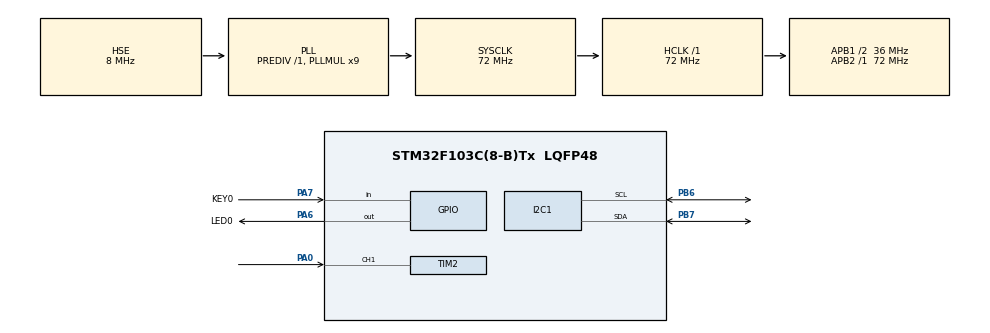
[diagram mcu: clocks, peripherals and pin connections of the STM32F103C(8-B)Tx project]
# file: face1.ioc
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I2C1.I2C_Mode=I2C_Fast
Mcu.Family=STM32F1
Mcu.Name=STM32F103C(8-B)Tx
Mcu.Package=LQFP48
NVIC.PriorityGroup=NVIC_PRIORITYGROUP_2
NVIC.TIM1_UP_IRQn=true\:1\:1\:true\:false\:true\:true\:true
NVIC.TIM2_IRQn=true\:0\:0\:true\:false\:true\:true\:true
NVIC.TIM3_IRQn=true\:1\:0\:true\:false\:true\:true\:true
NVIC.TIM4_IRQn=true\:0\:0\:false\:false\:true\:true\:true
PA0-WKUP.GPIO_PuPd=GPIO_PULLDOWN
PA0-WKUP.Signal=S_TIM2_CH1_ETR
PA13.Mode=JTAG_4_pins
PA13.Signal=SYS_JTMS-SWDIO
PA14.Mode=JTAG_4_pins
PA14.Signal=SYS_JTCK-SWCLK
PA15.Mode=JTAG_4_pins
PA15.Signal=SYS_JTDI
PA6.GPIO_Label=LED0
PA6.Signal=GPIO_Output
PA7.GPIO_Label=KEY0
PA7.Signal=GPIO_Input
PB3.Mode=JTAG_4_pins
PB3.Signal=SYS_JTDO-TRACESWO
PB6.Mode=I2C
PB6.Signal=I2C1_SCL
PB7.Mode=I2C
PB7.Signal=I2C1_SDA
PD0-OSC_IN.Mode=HSE-External-Oscillator
PD0-OSC_IN.Signal=RCC_OSC_IN
PD1-OSC_OUT.Mode=HSE-External-Oscillator
PD1-OSC_OUT.Signal=RCC_OSC_OUT
ProjectManager.HeapSize=0x200
ProjectManager.StackSize=0x400
ProjectManager.TargetToolchain=MDK-ARM V5
RCC.AHBFreq_Value=72000000
RCC.APB1CLKDivider=RCC_HCLK_DIV2
RCC.APB1Freq_Value=36000000
RCC.APB1TimFreq_Value=72000000
RCC.APB2Freq_Value=72000000
RCC.APB2TimFreq_Value=72000000
RCC.HCLKFreq_Value=72000000
RCC.PLLMUL=RCC_PLL_MUL9
RCC.PLLSourceVirtual=RCC_PLLSOURCE_HSE
RCC.SYSCLKFreq_VALUE=72000000
RCC.SYSCLKSource=RCC_SYSCLKSOURCE_PLLCLK
RCC.USBFreq_Value=72000000
SH.S_TIM2_CH1_ETR.0=TIM2_CH1,Input_Capture1_from_TI1
TIM1.AutoReloadPreload=TIM_AUTORELOAD_PRELOAD_ENABLE
TIM1.Period=9999
TIM1.Prescaler=71
TIM2.AutoReloadPreload=TIM_AUTORELOAD_PRELOAD_ENABLE
TIM2.Channel-Input_Capture1_from_TI1=TIM_CHANNEL_1
TIM2.Prescaler=71
TIM3.AutoReloadPreload=TIM_AUTORELOAD_PRELOAD_ENABLE
TIM3.Period=999
TIM3.Prescaler=71
TIM4.AutoReloadPreload=TIM_AUTORELOAD_PRELOAD_ENABLE
TIM4.Period=9999
TIM4.Prescaler=71
VP_TIM1_VS_ClockSourceINT.Mode=Internal
VP_TIM3_VS_ClockSourceINT.Mode=Internal
VP_TIM4_VS_ClockSourceINT.Mode=Internal
board=custom

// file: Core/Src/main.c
/* USER CODE BEGIN Header */
/**
  ******************************************************************************
  * @file           : main.c
  * @brief          : Main program body
  ******************************************************************************
  * @attention
  *
  * <h2><center>&copy; Copyright (c) 2021 STMicroelectronics.
  * All rights reserved.</center></h2>
  *
  * This software component is licensed by ST under BSD 3-Clause license,
  * the "License"; You may not use this file except in compliance with the
  * License. You may obtain a copy of the License at:
  *                        opensource.org/licenses/BSD-3-Clause
  *
  ******************************************************************************
  */
/* USER CODE END Header */
#include "main.h"
#include "i2c.h"
#include "tim.h"
#include "gpio.h"

/* USER CODE BEGIN Includes */
#include "oled.h"
#include "Switch_emoji.h"
#include "stmflash.h"
/* USER CODE END Includes */

/* USER CODE BEGIN PTD */
//要写入到STM32 FLASH的字符串数组
//const uint8_t TEXT_Buffer[]= {"STM32F103"};
uint8_t TEXT_Buffer[]= {0};
uint16_t time_up;

//#define SIZE sizeof(TEXT_Buffer)		//数组长度
//#define FLASH_SAVE_ADDR  0x0800fc00
#define FLASH_SAVE_ADDR  0x0800e800

uint8_t MODE;
/* USER CODE END PTD */

void SystemClock_Config(void);

/* USER CODE BEGIN 0 */

void HAL_TIM_PeriodElapsedCallback(TIM_HandleTypeDef *htim)
{
    if(htim->Instance == TIM1)
    {
        time1_up++;
    }
    if(htim->Instance == TIM3)
    {
        time_up++;
        pwm_input();
//			pwm_input_emoji();
    }
    if(htim->Instance == TIM4)
    {
        pwm_time_up++;

    }
}

/* USER CODE END 0 */

int main(void)
{
    /* USER CODE BEGIN 1 */
//   uint8_t datatemp[SIZE];
    uint8_t datatemp[20];

    /* USER CODE END 1 */

    /* MCU Configuration--------------------------------------------------------*/

    /* Reset of all peripherals, Initializes the Flash interface and the Systick. */
    HAL_Init();

    /* USER CODE BEGIN Init */

//    HAL_TIM_Base_Start_IT(&htim3);
    /* USER CODE END Init */

    /* Configure the system clock */
    SystemClock_Config();

    /* Initialize all configured peripherals */
    MX_GPIO_Init();
    MX_I2C1_Init();
    MX_TIM3_Init();
    MX_TIM2_Init();
    MX_TIM4_Init();
    MX_TIM1_Init();
    /* USER CODE BEGIN 2 */
    OLED_Init();
    OLED_CLS();

    /******************上电读一次数据**********************************/
    STMFLASH_Read(FLASH_SAVE_ADDR,(uint16_t*)datatemp,20);
    if(datatemp[0]!=0)
    {
        HAL_GPIO_WritePin(GPIOA, LED0_Pin, GPIO_PIN_RESET);
        TEXT_Buffer[0] = 0;
        HAL_Delay(40);
        MODE=0;//数字模式
    }
    else if (datatemp[0]==0)
    {
        TEXT_Buffer[0] = 1;
        MODE=1;
    }
//    HAL_TIM_Base_Start_IT(&htim4);
    STMFLASH_Write(FLASH_SAVE_ADDR,(uint16_t*)TEXT_Buffer,5);
    /* USER CODE END 2 */

    /* Infinite loop */
    while (1)
    {

        /* USER CODE BEGIN 3 */

        Read_KEY();
        while(ceshi==1)
        {
//            OLED_CLS();
            OLED_ShowCN(30, 3, 0);
            OLED_ShowCN(50, 3, 1);
            OLED_ShowCN(70, 3, 2);
            OLED_ShowCN(90, 3, 3);
//            HAL_Delay(1000);   //
        }

        if(time1_up>=300)//回复默认的时间
        {
            emoji_num=0;
            HAL_TIM_Base_Stop_IT(&htim1);
            time1_up=0;
        }
        if(MODE==0)   //数字模式
        {
            HAL_TIM_Base_Start_IT(&htim3);
            pwm_input_num();

            num_display();
        }
        else        //表情模式
        {
            pwm_input_emoji();
            emoji_display();
        }
        if(KEY_DOWN==1)
        {
            KEY_DOWN=0;
        }
    }
    /* USER CODE END 3 */
}

void SystemClock_Config(void)
{
    RCC_OscInitTypeDef RCC_OscInitStruct = {0};
    RCC_ClkInitTypeDef RCC_ClkInitStruct = {0};

    /** Initializes the RCC Oscillators according to the specified parameters
    * in the RCC_OscInitTypeDef structure.
    */
    RCC_OscInitStruct.OscillatorType = RCC_OSCILLATORTYPE_HSE;
    RCC_OscInitStruct.HSEState = RCC_HSE_ON;
    RCC_OscInitStruct.HSEPredivValue = RCC_HSE_PREDIV_DIV1;
    RCC_OscInitStruct.HSIState = RCC_HSI_ON;
    RCC_OscInitStruct.PLL.PLLState = RCC_PLL_ON;
    RCC_OscInitStruct.PLL.PLLSource = RCC_PLLSOURCE_HSE;
    RCC_OscInitStruct.PLL.PLLMUL = RCC_PLL_MUL9;
    if (HAL_RCC_OscConfig(&RCC_OscInitStruct) != HAL_OK)
    {
        Error_Handler();
    }
    /** Initializes the CPU, AHB and APB buses clocks
    */
    RCC_ClkInitStruct.ClockType = RCC_CLOCKTYPE_HCLK|RCC_CLOCKTYPE_SYSCLK
                                  |RCC_CLOCKTYPE_PCLK1|RCC_CLOCKTYPE_PCLK2;
    RCC_ClkInitStruct.SYSCLKSource = RCC_SYSCLKSOURCE_PLLCLK;
    RCC_ClkInitStruct.AHBCLKDivider = RCC_SYSCLK_DIV1;
    RCC_ClkInitStruct.APB1CLKDivider = RCC_HCLK_DIV2;
    RCC_ClkInitStruct.APB2CLKDivider = RCC_HCLK_DIV1;

    if (HAL_RCC_ClockConfig(&RCC_ClkInitStruct, FLASH_LATENCY_2) != HAL_OK)
    {
        Error_Handler();
    }
}

void Error_Handler(void)
{
    __disable_irq();
    while (1)
    {
    }
}

/************************ (C) COPYRIGHT STMicroelectronics *****END OF FILE****/
